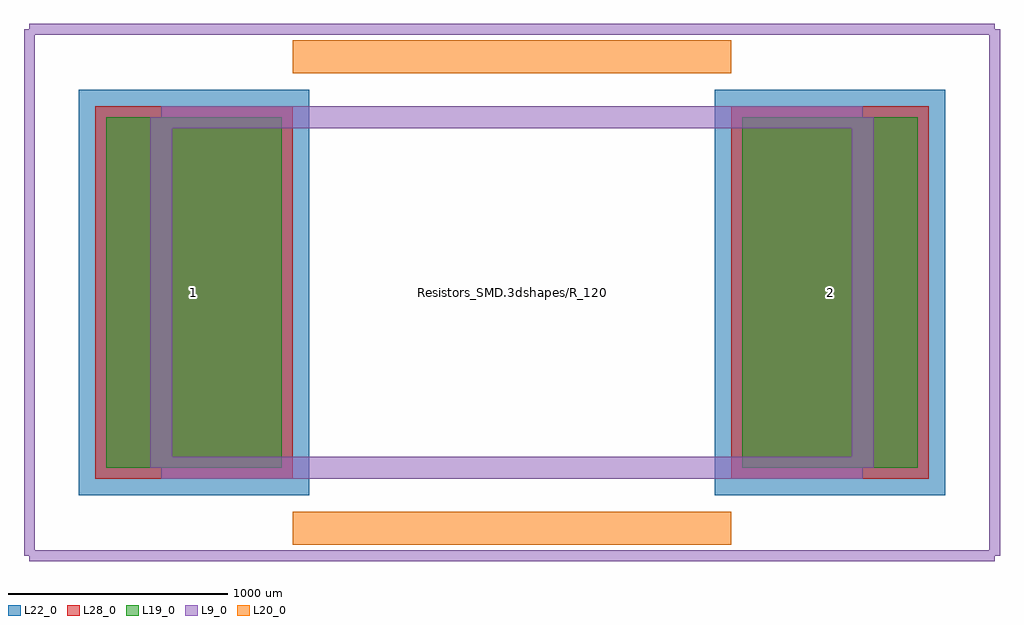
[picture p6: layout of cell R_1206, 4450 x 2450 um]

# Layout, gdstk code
import gdstk
lib = gdstk.Library(unit=1e-6, precision=1e-09)
def R(c, l, rs):  # rectangles x0, y0, x1, y1
    for r in rs: c.add(gdstk.rectangle(r[:2], r[2:], *l))
L9_0 = (9, 0)
L19_0 = (19, 0)
L20_0 = (20, 0)
L22_0 = (22, 0)
L28_0 = (28, 0)

r_1206 = lib.new_cell('R_1206')
R(r_1206, L19_0, [(-1850,-800,-1050,800), (1050,-800,1850,800)])
R(r_1206, L22_0, [(-1975,-925,-925,925), (925,-925,1975,925)])
R(r_1206, L28_0, [(-1900,-850,-1000,850), (1000,-850,1900,850)])
r_1206.add(gdstk.FlexPath([(-1000,1075),(1000,1075)], 149.998, ends="flush", simple_path=True, layer=20, datatype=0))  # L20_0
r_1206.add(gdstk.FlexPath([(1000,-1075),(-1000,-1075)], 149.998, ends="flush", simple_path=True, layer=20, datatype=0))  # L20_0
r_1206.add(gdstk.FlexPath([(2200,1200),(2200,-1200)], 50, ends="flush", simple_path=True, layer=9, datatype=0))  # L9_0
r_1206.add(gdstk.FlexPath([(-2200,1200),(-2200,-1200)], 50, ends="flush", simple_path=True, layer=9, datatype=0))  # L9_0
r_1206.add(gdstk.FlexPath([(-2200,-1200),(2200,-1200)], 50, ends="flush", simple_path=True, layer=9, datatype=0))  # L9_0
r_1206.add(gdstk.FlexPath([(-2200,1200),(2200,1200)], 50, ends="flush", simple_path=True, layer=9, datatype=0))  # L9_0
r_1206.add(gdstk.FlexPath([(-1600,800),(1600,800)], 100, ends="flush", simple_path=True, layer=9, datatype=0))  # L9_0
r_1206.add(gdstk.FlexPath([(1600,800),(1600,-800)], 100, ends="flush", simple_path=True, layer=9, datatype=0))  # L9_0
r_1206.add(gdstk.FlexPath([(1600,-800),(-1600,-800)], 100, ends="flush", simple_path=True, layer=9, datatype=0))  # L9_0
r_1206.add(gdstk.FlexPath([(-1600,-800),(-1600,800)], 100, ends="flush", simple_path=True, layer=9, datatype=0))  # L9_0
r_1206.add(gdstk.Label('Resistors_SMD.3dshapes/R_1206.wrl', (0,0), layer=12, texttype=0))
r_1206.add(gdstk.Label('2', (1450,0), layer=28, texttype=0))
r_1206.add(gdstk.Label('1', (-1450,0), layer=28, texttype=0))
r_1206.add(gdstk.Label('type', (0,-2300), layer=9, texttype=0))
r_1206.add(gdstk.Label('devicename', (0,2300), layer=9, texttype=0))

lib.write_gds('R_1206.gds')
